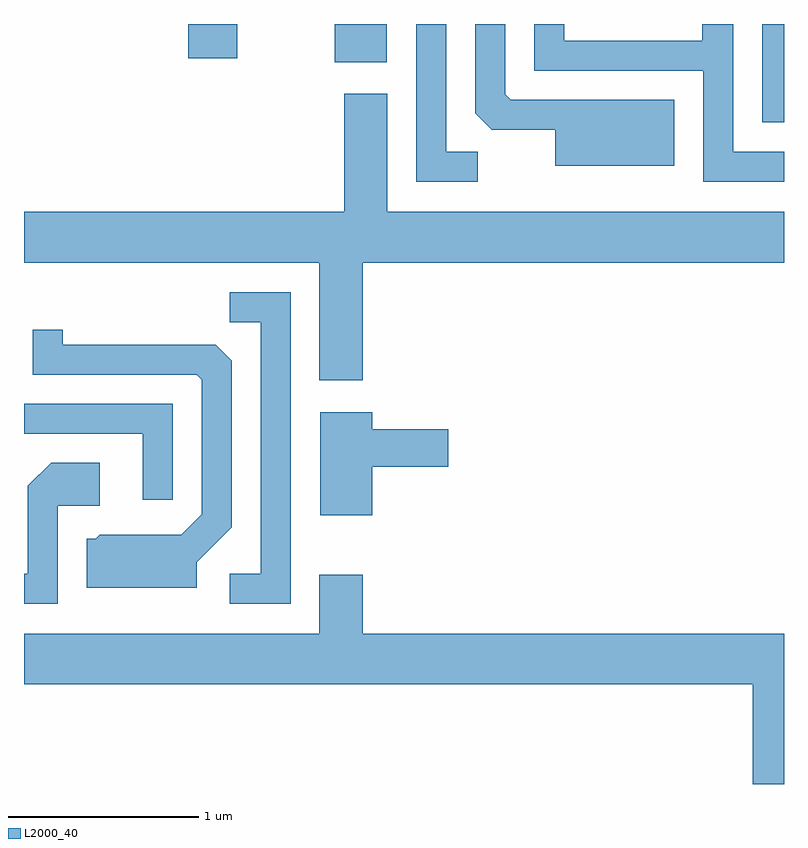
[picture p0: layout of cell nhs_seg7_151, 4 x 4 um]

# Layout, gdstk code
import gdstk
lib = gdstk.Library(unit=1e-6, precision=1e-09)
def R(c, l, rs):  # rectangles x0, y0, x1, y1
    for r in rs: c.add(gdstk.rectangle(r[:2], r[2:], *l))
def P(c, l, *ps):  # polygons
    for p in ps: c.add(gdstk.Polygon(p, *l))
L2000_40 = (2000, 40)

nhs_seg7_151 = lib.new_cell('nhs_seg7_151')
R(nhs_seg7_151, L2000_40, [(193.496,1701.736,193.611,1702.252), (191.246,1702.051,191.519,1702.252), (190.476,1702.071,190.734,1702.252)])
P(nhs_seg7_151, L2000_40, [(191.998,1701.579),(191.834,1701.579),(191.834,1702.252),(191.676,1702.252),(191.676,1701.421),(191.998,1701.421)],
  [(193.034,1701.854),(192.172,1701.854),(192.144,1701.882),(192.144,1702.252),(191.986,1702.252),(191.986,1701.782),(192.072,1701.696),(192.406,1701.696),(192.406,1701.506),(193.034,1701.506)],
  [(193.611,1701.579),(193.344,1701.579),(193.344,1702.252),(193.181,1702.252),(193.181,1702.164),(192.454,1702.164),(192.454,1702.252),(192.296,1702.252),(192.296,1702.006),(193.186,1702.006),(193.186,1701.421),(193.611,1701.421)],
  [(191.394,1700.996),(193.611,1700.996),(193.611,1701.264),(191.524,1701.264),(191.524,1701.884),(191.296,1701.884),(191.296,1701.264),(189.611,1701.264),(189.611,1700.996),(191.166,1700.996),(191.166,1700.376),(191.394,1700.376)],
  [(191.014,1700.839),(190.693,1700.839),(190.693,1700.681),(190.856,1700.681),(190.856,1699.359),(190.693,1699.359),(190.693,1699.201),(191.014,1699.201)],
  [(190.519,1699.419),(190.704,1699.604),(190.704,1700.479),(190.619,1700.564),(189.814,1700.564),(189.814,1700.643),(189.656,1700.643),(189.656,1700.406),(190.519,1700.406),(190.546,1700.379),(190.546,1699.672),(190.439,1699.564),(190.009,1699.564),(189.989,1699.544),(189.941,1699.544),(189.941,1699.286),(190.519,1699.286)],
  [(190.394,1700.254),(189.611,1700.254),(189.611,1700.096),(190.236,1700.096),(190.236,1699.748),(190.394,1699.748)],
  [(191.444,1699.921),(191.844,1699.921),(191.844,1700.119),(191.444,1700.119),(191.444,1700.209),(191.171,1700.209),(191.171,1699.666),(191.444,1699.666)],
  [(189.789,1699.716),(190.009,1699.716),(190.009,1699.944),(189.754,1699.944),(189.631,1699.822),(189.631,1699.359),(189.611,1699.359),(189.611,1699.201),(189.789,1699.201)],
  [(193.611,1699.044),(191.394,1699.044),(191.394,1699.354),(191.166,1699.354),(191.166,1699.044),(189.611,1699.044),(189.611,1698.776),(193.446,1698.776),(193.446,1698.252),(193.611,1698.252)])

lib.write_gds('nhs_seg7_151.gds')
